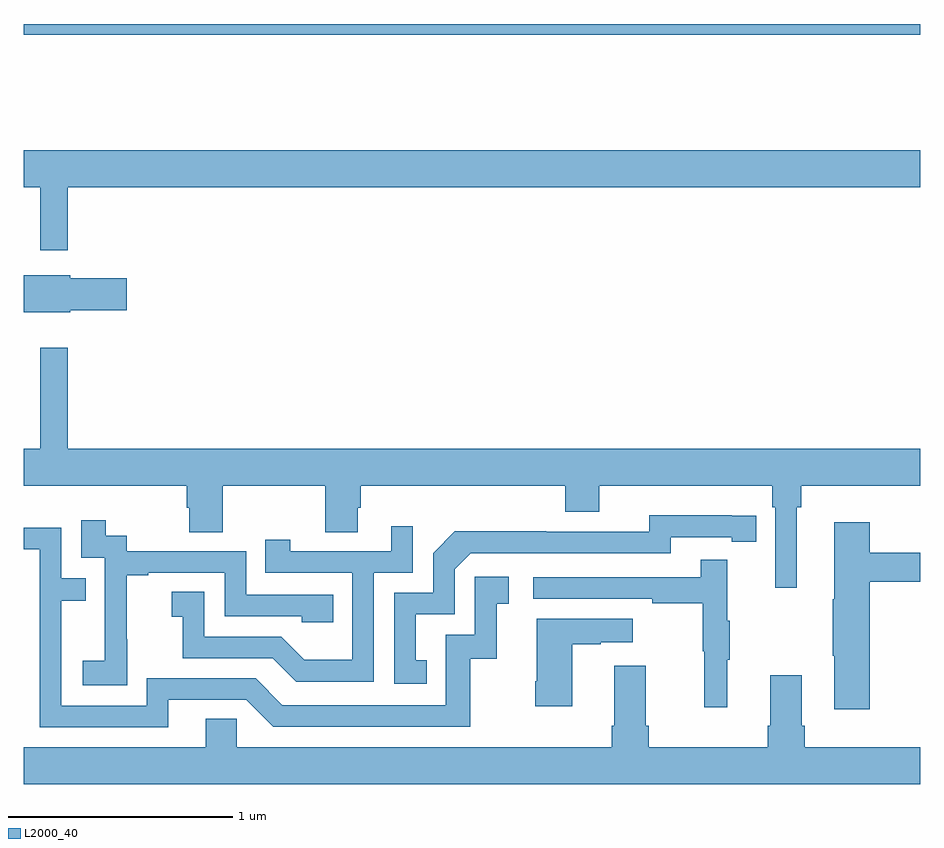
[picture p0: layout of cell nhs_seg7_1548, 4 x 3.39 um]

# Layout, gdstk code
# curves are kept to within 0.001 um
import gdstk
lib = gdstk.Library(unit=1e-6, precision=1e-09)
def R(c, l, rs):  # rectangles x0, y0, x1, y1
    for r in rs: c.add(gdstk.rectangle(r[:2], r[2:], *l))
def P(c, l, *ps):  # polygons
    for p in ps: c.add(gdstk.Polygon(p, *l))
L2000_40 = (2000, 40)

nhs_seg7_1548 = lib.new_cell('nhs_seg7_1548')
R(nhs_seg7_1548, L2000_40, [(217,1011.952,221,1012)])
P(nhs_seg7_1548, L2000_40, [(217.195,1011.272),(221,1011.272),(221,1011.436),(217,1011.436),(217,1011.272),(217.073,1011.272),(217.073,1010.991),(217.195,1010.991)],
  [(217.206,1010.723),(217.459,1010.723),(217.459,1010.865),(217.206,1010.865),(217.206,1010.878),(217,1010.878),(217,1010.714),(217.206,1010.714)],
  [(220.45,1009.844),(220.469,1009.844),(220.469,1009.94),(221,1009.94),(221,1010.104),(217.195,1010.104),(217.195,1010.554),(217.073,1010.554),(217.073,1010.104),(217,1010.104),(217,1009.94),(217.727,1009.94),(217.727,1009.842),(217.739,1009.842),(217.739,1009.732),(217.887,1009.732),(217.887,1009.94),(218.344,1009.94),(218.344,1009.732),(218.491,1009.732),(218.491,1009.842),(218.504,1009.842),(218.504,1009.94),(219.416,1009.94),(219.416,1009.823),(219.568,1009.823),(219.568,1009.94),(220.34,1009.94),(220.34,1009.844),(220.353,1009.844),(220.353,1009.485),(220.45,1009.485)],
  [(218.798,1009.161),(218.749,1009.161),(218.749,1009.365),(218.922,1009.365),(218.922,1009.566),(218.994,1009.638),(219.888,1009.638),(219.888,1009.71),(220.16,1009.71),(220.16,1009.69),(220.268,1009.69),(220.268,1009.806),(219.792,1009.807),(219.792,1009.734),(219.332,1009.734),(219.332,1009.736),(218.924,1009.736),(218.826,1009.638),(218.826,1009.461),(218.652,1009.461),(218.652,1009.056),(218.798,1009.056)],
  [(217.461,1009.255),(217.46,1009.255),(217.46,1009.539),(217.555,1009.539),(217.555,1009.551),(217.896,1009.551),(217.896,1009.356),(218.241,1009.356),(218.241,1009.329),(218.381,1009.329),(218.381,1009.452),(217.992,1009.452),(217.992,1009.647),(217.458,1009.647),(217.458,1009.716),(217.366,1009.716),(217.366,1009.786),(217.257,1009.786),(217.257,1009.617),(217.362,1009.617),(217.362,1009.388),(217.361,1009.388),(217.361,1009.159),(217.263,1009.159),(217.263,1009.049),(217.461,1009.049)],
  [(220.775,1009.51),(221,1009.51),(221,1009.639),(220.775,1009.639),(220.775,1009.777),(220.616,1009.777),(220.616,1009.433),(220.609,1009.433),(220.609,1009.18),(220.616,1009.18),(220.616,1008.942),(220.775,1008.942)],
  [(218.562,1009.551),(218.736,1009.551),(218.736,1009.759),(218.639,1009.759),(218.639,1009.647),(218.188,1009.647),(218.188,1009.699),(218.077,1009.699),(218.077,1009.551),(218.466,1009.551),(218.466,1009.162),(218.252,1009.162),(218.148,1009.266),(217.806,1009.266),(217.806,1009.465),(217.659,1009.465),(217.659,1009.355),(217.708,1009.355),(217.708,1009.17),(218.111,1009.17),(218.216,1009.065),(218.562,1009.065)],
  [(217.645,1008.984),(217.992,1008.984),(218.112,1008.864),(218.992,1008.864),(218.992,1009.167),(219.11,1009.167),(219.11,1009.413),(219.163,1009.413),(219.163,1009.534),(219.012,1009.534),(219.012,1009.275),(218.883,1009.275),(218.883,1008.96),(218.154,1008.96),(218.034,1009.08),(217.548,1009.08),(217.548,1008.957),(217.167,1008.957),(217.167,1009.426),(217.277,1009.426),(217.277,1009.527),(217.167,1009.527),(217.167,1009.752),(217,1009.752),(217,1009.656),(217.071,1009.656),(217.071,1008.861),(217.645,1008.861)],
  [(220.139,1009.163),(220.15,1009.163),(220.15,1009.337),(220.139,1009.337),(220.139,1009.609),(220.021,1009.609),(220.021,1009.53),(219.273,1009.53),(219.273,1009.434),(219.805,1009.434),(219.805,1009.414),(220.029,1009.414),(220.029,1009.2),(220.036,1009.2),(220.036,1008.951),(220.139,1008.951)],
  [(219.448,1009.231),(219.575,1009.231),(219.575,1009.241),(219.718,1009.241),(219.718,1009.345),(219.29,1009.345),(219.29,1009.066),(219.283,1009.066),(219.283,1008.954),(219.448,1008.954)],
  [(221,1008.772),(220.484,1008.772),(220.484,1008.868),(220.471,1008.868),(220.471,1009.093),(220.331,1009.093),(220.331,1008.868),(220.319,1008.868),(220.319,1008.772),(219.788,1008.772),(219.788,1008.868),(219.775,1008.868),(219.775,1009.135),(219.635,1009.135),(219.635,1008.868),(219.623,1008.868),(219.623,1008.772),(217.95,1008.772),(217.95,1008.899),(217.811,1008.899),(217.811,1008.772),(217,1008.772),(217,1008.608),(221,1008.608)])

lib.write_gds('nhs_seg7_1548.gds')
